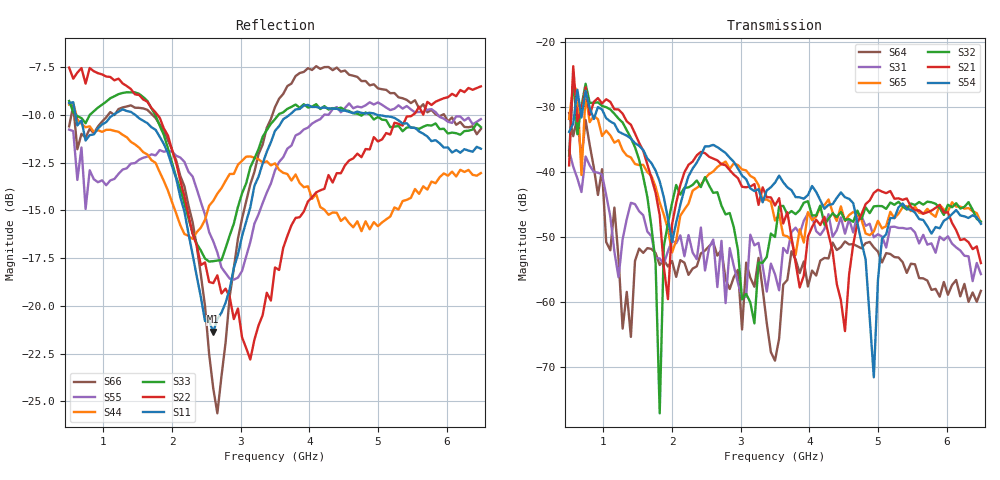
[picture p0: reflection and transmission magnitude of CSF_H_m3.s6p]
!Keysight Technologies,M9804A,MY58100912,A.14.10.03
!Date: Thursday, April 27, 2023 10:28:33
!Correction: S11(C  6-Port  )
!S12(C  6-Port  )
!S13(C  6-Port  )
!S14(C  6-Port  )
!S15(C  6-Port  )
!S16(C  6-Port  )
!S21(C  6-Port  )
!S22(C  6-Port  )
!S23(C  6-Port  )
!S24(C  6-Port  )
!S25(C  6-Port  )
!S26(C  6-Port  )
!S31(C  6-Port  )
!S32(C  6-Port  )
!S33(C  6-Port  )
!S34(C  6-Port  )
!S35(C  6-Port  )
!S36(C  6-Port  )
!S41(C  6-Port  )
!S42(C  6-Port  )
!S43(C  6-Port  )
!S44(C  6-Port  )
!S45(C  6-Port  )
!S46(C  6-Port  )
!S51(C  6-Port  )
!S52(C  6-Port  )
!S53(C  6-Port  )
!S54(C  6-Port  )
!S55(C  6-Port  )
!S56(C  6-Port  )
!S61(C  6-Port  )
!S62(C  6-Port  )
!S63(C  6-Port  )
!S64(C  6-Port  )
!S65(C  6-Port  )
!S66(C  6-Port  )
!S6P File: Measurement: :
# Hz S  RI  R 50
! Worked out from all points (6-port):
!   101 points, 500 MHz to 6.5 GHz, reference 50 ohm
!   strongest paths, dB at 500 MHz, 2 GHz, 3.5 GHz, 5 GHz, 6.5 GHz:
!     S54: -33.8, -50.7, -41.6, -56.6, -48.0
!     S21: -39.0, -48.0, -45.1, -42.7, -54.0
!     S32: -37.4, -44.8, -50.0, -45.2, -47.6
!     S65: -31.8, -52.4, -47.4, -47.5, -47.8
!     S31: -36.7, -50.5, -55.7, -49.6, -55.7
!     S64: -30.9, -53.7, -69.0, -52.2, -58.3
!   lowest |S11| = -21.4 dB at 2.6 GHz (marker M1), VSWR 1.19, Z = 42.4 + j2.29 ohm
!   |S11| at or under -10 dB: 592.7 MHz to 1.145 GHz (552.6 MHz wide, 63.6 % of centre); 1.462 GHz to 3.71 GHz (2.248 GHz wide, 86.9 % of centre); 4.989 GHz to end of sweep
